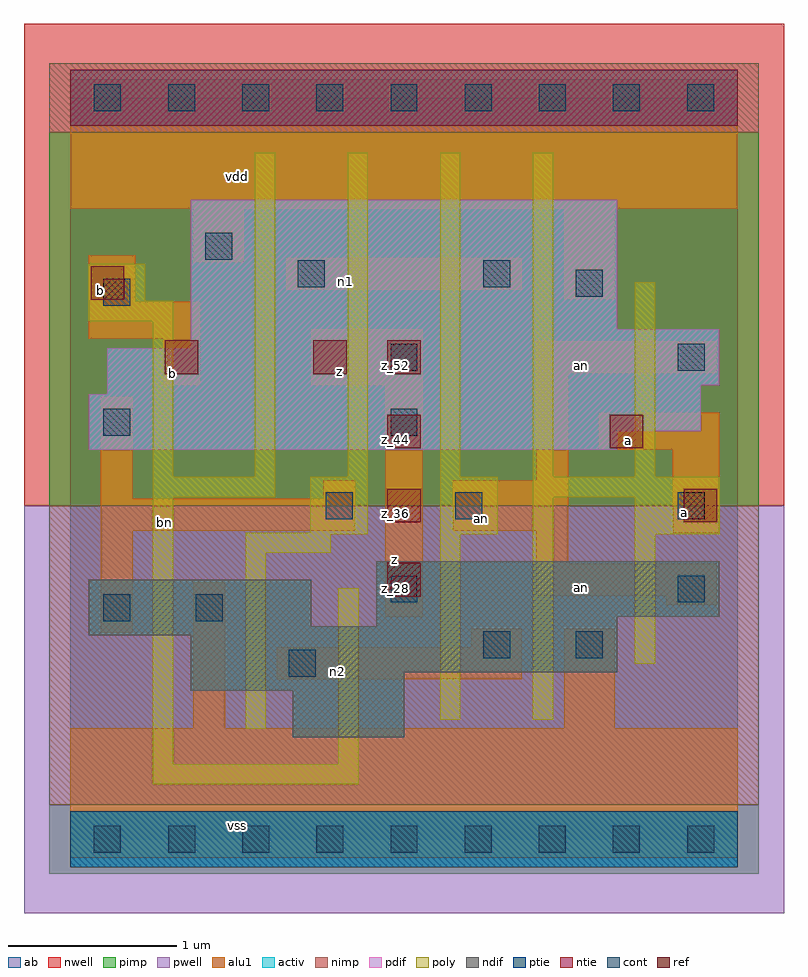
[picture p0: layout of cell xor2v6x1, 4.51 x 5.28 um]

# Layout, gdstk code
import gdstk
lib = gdstk.Library(unit=1e-6, precision=2.5e-09)
def R(c, l, rs):  # rectangles x0, y0, x1, y1
    for r in rs: c.add(gdstk.rectangle(r[:2], r[2:], *l))
def A(c, l, x, y, w, h, nx, ny, dx, dy):  # array of equal rectangles
    R(c, l, [(x+i*dx, y+j*dy, x+i*dx+w, y+j*dy+h) for i in range(nx) for j in range(ny)])
ndif = (3, 0)
pdif = (4, 0)
ntie = (5, 0)
ptie = (6, 0)
ref = (24, 0)
cont = (25, 0)
pwell = (41, 0)
nwell = (42, 0)
activ = (43, 0)
pimp = (44, 0)
nimp = (45, 0)
poly = (46, 0)
alu1 = (49, 0)
ab = (63, 0)

xor2v6x1 = lib.new_cell('xor2v6x1')
R(xor2v6x1, ndif, [(1.32,0.605,1.98,0.88), (0.715,0.88,1.98,0.99), (0.715,0.99,3.245,1.21), (0.11,1.21,3.245,1.265), (0.11,1.265,1.43,1.54), (1.815,1.265,3.245,1.32), (1.815,1.32,3.85,1.65)])
R(xor2v6x1, pdif, [(0.11,2.31,3.245,2.42), (0.11,2.42,3.74,2.64), (0.22,2.64,3.74,2.695), (0.22,2.695,3.85,2.915), (0.715,2.915,3.85,3.025), (0.715,3.025,3.245,3.795)])
R(xor2v6x1, ntie, [(0,4.235,3.96,4.565)])
R(xor2v6x1, ptie, [(0,-0.165,3.96,0.165)])
A(xor2v6x1, ref, 1.88, 1.44, 0.2, 0.2, 1, 4, 0, 0.44)
R(xor2v6x1, ref, [(3.64,1.88,3.84,2.08), (3.2,2.32,3.4,2.52), (0.56,2.76,0.76,2.96), (1.44,2.76,1.64,2.96), (0.12,3.2,0.32,3.4)])
A(xor2v6x1, cont, 0.14, -0.08, 0.16, 0.16, 9, 2, 0.44, 4.4)
R(xor2v6x1, cont, [(1.295,0.965,1.455,1.125), (2.45,1.075,2.61,1.235), (3,1.075,3.16,1.235), (0.195,1.295,0.355,1.455), (0.745,1.295,0.905,1.455), (1.9,1.405,2.06,1.565), (3.605,1.405,3.765,1.565), (1.515,1.9,1.675,2.06), (2.285,1.9,2.445,2.06), (3.605,1.9,3.765,2.06), (0.195,2.395,0.355,2.555), (1.9,2.395,2.06,2.555), (1.9,2.78,2.06,2.94), (3.605,2.78,3.765,2.94), (0.195,3.165,0.355,3.325), (3,3.22,3.16,3.38), (1.35,3.275,1.51,3.435), (2.45,3.275,2.61,3.435), (0.8,3.44,0.96,3.6)])
R(xor2v6x1, pwell, [(-0.275,-0.44,4.235,1.98)])
R(xor2v6x1, nwell, [(-0.275,1.98,4.235,4.84)])
R(xor2v6x1, activ, [(0,-0.165,3.96,0.165), (1.32,0.605,1.98,0.88), (0.715,0.88,1.98,0.99), (0.715,0.99,3.245,1.21), (0.11,1.21,3.245,1.265), (0.11,1.265,1.43,1.54), (1.815,1.265,3.245,1.32), (1.815,1.32,3.85,1.65), (0.11,2.31,3.245,2.42), (0.11,2.42,3.74,2.64), (0.22,2.64,3.74,2.695), (0.22,2.695,3.85,2.915), (0.715,2.915,3.85,3.025), (0.715,3.025,3.245,3.795), (0,4.235,3.96,4.565)])
R(xor2v6x1, pimp, [(-0.125,-0.205,4.085,0.205), (-0.125,1.98,4.085,4.195)])
R(xor2v6x1, nimp, [(-0.125,0.205,4.085,1.98), (-0.125,4.195,4.085,4.605)])
A(xor2v6x1, poly, 1.095, 2.15, 0.12, 1.925, 4, 1, 0.55, 0)
R(xor2v6x1, poly, [(0.49,0.325,1.71,0.445), (0.49,0.445,0.61,2.03), (1.59,0.445,1.71,1.49), (1.04,0.655,1.16,1.7), (2.195,0.71,2.315,1.81), (2.745,0.71,2.865,2.03), (3.35,1.04,3.47,1.81), (1.04,1.7,1.545,1.81), (1.04,1.81,1.765,1.82), (2.195,1.81,2.535,2.15), (3.35,1.81,3.855,2.03), (1.425,1.82,1.765,2.15), (0.49,2.03,1.215,2.15), (2.745,2.03,3.855,2.15), (0.49,2.15,0.61,3.075), (3.35,2.15,3.47,3.305), (0.105,3.075,0.61,3.195), (0.105,3.195,0.445,3.415)])
R(xor2v6x1, alu1, [(0,-0.11,3.96,0.66), (0.73,0.66,0.92,1.525), (2.93,0.66,3.23,1.25), (1.225,0.95,2.68,1.14), (2.38,1.14,2.68,1.25), (0.18,1.225,0.37,1.83), (1.87,1.32,2.09,2.695), (3.535,1.39,3.835,1.445), (2.765,1.445,3.835,1.635), (2.765,1.635,2.955,1.83), (3.575,1.815,3.85,2.31), (0.18,1.83,1.69,2.02), (2.27,1.83,2.955,2.13), (0.18,2.02,0.37,2.625), (1.5,2.02,1.69,2.13), (2.765,2.13,2.955,2.765), (3.135,2.31,3.85,2.53), (0.55,2.695,0.77,2.97), (1.43,2.695,2.09,3.025), (2.765,2.765,3.835,2.955), (0.11,2.97,0.77,3.19), (0.11,3.19,0.385,3.465), (2.93,3.205,3.23,3.74), (1.28,3.26,2.68,3.45), (0.73,3.425,1.03,3.74), (0,3.74,3.96,4.51)])
R(xor2v6x1, ab, [(0,0,3.96,4.4)])
xor2v6x1.add(gdstk.Label('vss', (0.99,0.0825), layer=49, texttype=0))
xor2v6x1.add(gdstk.Label('n2', (1.5875,0.9975), layer=49, texttype=0))
xor2v6x1.add(gdstk.Label('an', (3.0325,1.4925), layer=49, texttype=0))
xor2v6x1.add(gdstk.Label('a', (3.6425,1.9375), layer=49, texttype=0))
xor2v6x1.add(gdstk.Label('an', (2.44,1.905), layer=49, texttype=0))
xor2v6x1.add(gdstk.Label('a', (3.3125,2.365), layer=49, texttype=0))
xor2v6x1.add(gdstk.Label('an', (3.0325,2.8125), layer=49, texttype=0))
xor2v6x1.add(gdstk.Label('z', (1.925,1.6625), layer=49, texttype=0))
xor2v6x1.add(gdstk.Label('bn', (0.5575,1.8775), layer=49, texttype=0))
xor2v6x1.add(gdstk.Label('z', (1.595,2.7775), layer=49, texttype=0))
xor2v6x1.add(gdstk.Label('b', (0.605,2.7625), layer=49, texttype=0))
xor2v6x1.add(gdstk.Label('n1', (1.63,3.3075), layer=49, texttype=0))
xor2v6x1.add(gdstk.Label('b', (0.1775,3.2575), layer=49, texttype=0))
xor2v6x1.add(gdstk.Label('vdd', (0.99,3.9325), layer=49, texttype=0))
xor2v6x1.add(gdstk.Label('z_52', (1.49,2.81), layer=24, texttype=0))
xor2v6x1.add(gdstk.Label('z_44', (1.93,2.37), layer=24, texttype=0))
xor2v6x1.add(gdstk.Label('z_36', (1.93,1.93), layer=24, texttype=0))
xor2v6x1.add(gdstk.Label('z_28', (1.93,1.49), layer=24, texttype=0))
xor2v6x1.add(gdstk.Label('z_52', (1.93,2.81), layer=24, texttype=0))
xor2v6x1.add(gdstk.Label('b_60', (0.17,3.25), layer=24, texttype=0))
xor2v6x1.add(gdstk.Label('b_52', (0.61,2.81), layer=24, texttype=0))
xor2v6x1.add(gdstk.Label('a_36', (3.69,1.93), layer=24, texttype=0))
xor2v6x1.add(gdstk.Label('a_44', (3.25,2.37), layer=24, texttype=0))

lib.write_gds('xor2v6x1.gds')
